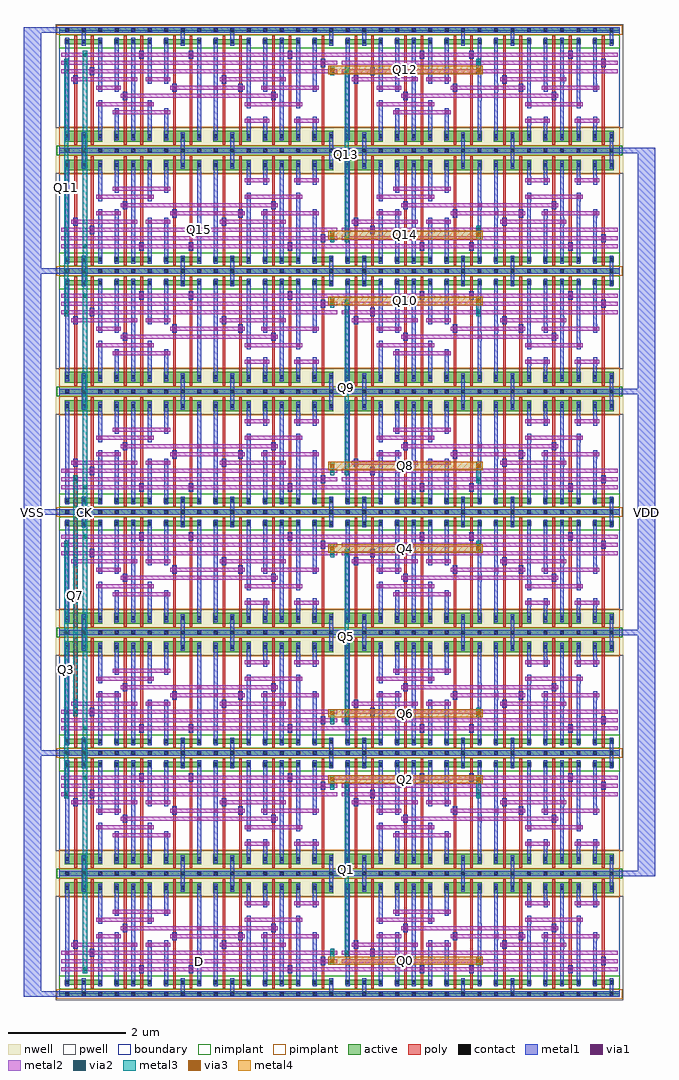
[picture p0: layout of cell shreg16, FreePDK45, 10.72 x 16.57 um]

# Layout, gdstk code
import gdstk
lib = gdstk.Library(unit=1e-6, precision=5e-10)
def R(c, l, rs):  # rectangles x0, y0, x1, y1
    for r in rs: c.add(gdstk.rectangle(r[:2], r[2:], *l))
def A(c, l, x, y, w, h, nx, ny, dx, dy):  # array of equal rectangles
    R(c, l, [(x+i*dx, y+j*dy, x+i*dx+w, y+j*dy+h) for i in range(nx) for j in range(ny)])
active = (1, 0)
pwell = (2, 0)
nwell = (3, 0)
nimplant = (4, 0)
pimplant = (5, 0)
poly = (9, 0)
contact = (10, 0)
metal1 = (11, 0)
via1 = (12, 0)
metal2 = (13, 0)
via2 = (14, 0)
metal3 = (15, 0)
via3 = (16, 0)
metal4 = (17, 0)
boundary = (235, 0)

dff = lib.new_cell('dff')
A(dff, active, 0.1, 0.15, 0.635, 0.09, 5, 1, 0.84, 0)
A(dff, active, 0.1, 1.71, 0.635, 0.18, 5, 1, 0.84, 0)
R(dff, active, [(0,-0.05,4.76,0.045), (4.3,0.15,4.655,0.24), (4.3,1.71,4.655,1.89), (0,1.995,4.76,2.09)])
R(dff, pwell, [(-0.055,-0.105,4.815,1.655)])
R(dff, nwell, [(-0.055,1.655,4.815,2.145)])
R(dff, nimplant, [(0,0.08,4.76,0.31), (-0.035,1.96,4.795,2.125)])
R(dff, pimplant, [(-0.035,-0.085,4.795,0.08), (0,1.64,4.76,1.96)])
R(dff, poly, [(0.255,0.095,0.305,0.295), (0.535,0.095,0.585,0.295), (1.095,0.095,1.145,0.295), (1.375,0.095,1.425,0.295), (1.935,0.095,1.985,0.295), (2.215,0.095,2.265,0.295), (2.775,0.095,2.825,0.295), (3.055,0.095,3.105,0.295), (3.615,0.095,3.665,0.295), (3.895,0.095,3.945,0.295), (4.455,0.095,4.505,0.295), (0.255,0.295,0.305,1.655), (0.535,0.295,0.585,1.655), (1.095,0.295,1.145,1.655), (1.375,0.295,1.425,1.655), (1.935,0.295,1.985,1.655), (2.215,0.295,2.265,1.655), (2.775,0.295,2.825,1.655), (3.055,0.295,3.105,1.655), (3.615,0.295,3.665,1.655), (3.895,0.295,3.945,1.655), (4.455,0.295,4.505,1.655), (1.36,0.375,1.435,0.45), (2.2,0.375,2.275,0.45), (3.88,0.375,3.955,0.45), (4.44,0.515,4.515,0.59), (0.52,0.655,0.595,0.73), (0.24,0.795,0.315,0.87), (2.76,0.795,2.835,0.87), (1.92,0.935,1.995,1.01), (3.04,0.935,3.115,1.01), (1.08,1.075,1.155,1.15), (3.6,1.075,3.675,1.15), (0.255,1.655,0.305,1.945), (0.535,1.655,0.585,1.945), (1.095,1.655,1.145,1.945), (1.375,1.655,1.425,1.945), (1.935,1.655,1.985,1.945), (2.215,1.655,2.265,1.945), (2.775,1.655,2.825,1.945), (3.055,1.655,3.105,1.945), (3.615,1.655,3.665,1.945), (3.895,1.655,3.945,1.945), (4.455,1.655,4.505,1.945)])
A(dff, contact, 0.105, -0.035, 0.065, 0.065, 17, 2, 0.28, 0.195)
A(dff, contact, 0.105, 1.765, 0.065, 0.065, 17, 2, 0.28, 0.245)
R(dff, contact, [(1.365,0.38,1.43,0.445), (2.205,0.38,2.27,0.445), (3.885,0.38,3.95,0.445), (4.445,0.52,4.51,0.585), (0.525,0.66,0.59,0.725), (0.245,0.8,0.31,0.865), (2.765,0.8,2.83,0.865), (1.925,0.94,1.99,1.005), (3.045,0.94,3.11,1.005), (1.085,1.08,1.15,1.145), (3.605,1.08,3.67,1.145)])
A(dff, metal1, 0.105, 0.125, 0.065, 0.135, 17, 2, 0.28, 1.605)
A(dff, metal1, 1.225, 0.26, 0.065, 0.575, 3, 1, 0.28, 0)
A(dff, metal1, 2.625, 0.26, 0.065, 0.715, 3, 1, 0.84, 0)
A(dff, metal1, 1.225, 0.765, 0.07, 0.14, 3, 1, 0.28, 0)
A(dff, metal1, 2.625, 0.905, 0.07, 0.14, 3, 1, 0.42, 0)
R(dff, metal1, [(0,-0.05,4.76,0.045), (0.385,0,0.45,0.125), (2.065,0,2.13,0.125), (2.905,0,2.97,0.125), (4.585,0,4.65,0.125), (0.105,0.26,0.17,0.695), (0.665,0.26,0.73,0.975), (0.945,0.26,1.01,0.975), (2.345,0.26,2.41,1.115), (3.185,0.26,3.25,1.255), (3.745,0.26,3.81,0.835), (4.025,0.26,4.09,1.255), (1.365,0.345,1.435,0.485), (2.205,0.345,2.275,0.485), (3.885,0.345,3.955,0.485), (4.445,0.485,4.515,0.625), (0.105,0.625,0.175,0.765), (0.105,0.625,0.175,0.765), (0.525,0.625,0.595,0.765), (0.105,0.695,0.17,1.73), (0.245,0.765,0.315,0.905), (1.225,0.765,1.295,0.905), (2.765,0.765,2.835,0.905), (3.745,0.765,3.815,0.905), (3.745,0.765,3.815,0.905), (1.225,0.835,1.29,1.73), (3.745,0.835,3.81,1.73), (0.665,0.905,0.735,1.045), (0.945,0.905,1.015,1.045), (1.925,0.905,1.995,1.045), (2.625,0.905,2.695,1.045), (4.305,0.905,4.375,1.045), (2.625,0.975,2.69,1.73), (1.085,1.045,1.155,1.185), (2.345,1.045,2.415,1.185), (2.345,1.045,2.415,1.185), (3.605,1.045,3.675,1.185), (2.345,1.115,2.41,1.73), (0.665,1.185,0.735,1.325), (1.505,1.185,1.575,1.325), (3.185,1.185,3.255,1.325), (4.025,1.185,4.095,1.325), (0.665,1.255,0.73,1.73), (1.505,1.255,1.57,1.73), (0.945,1.325,1.015,1.465), (1.785,1.325,1.855,1.465), (0.945,1.395,1.01,1.73), (1.785,1.395,1.85,1.73), (3.185,1.465,3.255,1.605), (3.465,1.465,3.535,1.605), (4.025,1.465,4.095,1.605), (4.305,1.465,4.375,1.605), (3.185,1.535,3.25,1.73), (3.465,1.535,3.53,1.73), (4.025,1.535,4.09,1.73), (4.305,1.535,4.37,1.73), (0.385,1.865,0.45,2.045), (2.065,1.865,2.13,2.045), (2.905,1.865,2.97,2.045), (4.585,1.865,4.65,2.045), (0,1.995,4.76,2.09)])
A(dff, via1, 1.225, 0.8, 0.07, 0.07, 3, 1, 0.28, 0)
A(dff, via1, 2.625, 0.94, 0.07, 0.07, 3, 1, 0.42, 0)
R(dff, via1, [(1.365,0.38,1.435,0.45), (2.205,0.38,2.275,0.45), (3.885,0.38,3.955,0.45), (4.445,0.52,4.515,0.59), (0.105,0.66,0.175,0.73), (0.105,0.66,0.175,0.73), (0.525,0.66,0.595,0.73), (0.245,0.8,0.315,0.87), (1.225,0.8,1.295,0.87), (2.765,0.8,2.835,0.87), (3.745,0.8,3.815,0.87), (3.745,0.8,3.815,0.87), (0.665,0.94,0.735,1.01), (0.945,0.94,1.015,1.01), (1.925,0.94,1.995,1.01), (2.625,0.94,2.695,1.01), (4.305,0.94,4.375,1.01), (1.085,1.08,1.155,1.15), (2.345,1.08,2.415,1.15), (2.345,1.08,2.415,1.15), (3.605,1.08,3.675,1.15), (0.665,1.22,0.735,1.29), (1.505,1.22,1.575,1.29), (3.185,1.22,3.255,1.29), (4.025,1.22,4.095,1.29), (0.945,1.36,1.015,1.43), (1.785,1.36,1.855,1.43), (3.185,1.5,3.255,1.57), (3.465,1.5,3.535,1.57), (4.025,1.5,4.095,1.57), (4.305,1.5,4.375,1.57)])
A(dff, metal2, 0.035, 0.38, 4.69, 0.07, 1, 3, 0, 0.14)
A(dff, metal2, 1.19, 0.8, 0.14, 0.07, 3, 1, 0.28, 0)
A(dff, metal2, 2.59, 0.94, 0.14, 0.07, 3, 1, 0.42, 0)
R(dff, metal2, [(1.33,0.38,1.47,0.45), (2.17,0.38,2.31,0.45), (3.85,0.38,3.99,0.45), (4.41,0.52,4.55,0.59), (0.07,0.66,0.21,0.73), (0.07,0.66,0.21,0.73), (0.49,0.66,0.63,0.73), (0.21,0.8,0.35,0.87), (0.28,0.8,1.26,0.87), (1.19,0.8,1.33,0.87), (1.54,0.8,1.82,0.87), (2.73,0.8,2.87,0.87), (2.8,0.8,3.78,0.87), (3.71,0.8,3.85,0.87), (3.71,0.8,3.85,0.87), (0.63,0.94,0.77,1.01), (0.7,0.94,0.98,1.01), (0.91,0.94,1.05,1.01), (1.89,0.94,2.03,1.01), (1.96,0.94,3.08,1.01), (2.59,0.94,2.73,1.01), (3.5,0.94,4.34,1.01), (4.27,0.94,4.41,1.01), (1.05,1.08,1.19,1.15), (1.12,1.08,3.64,1.15), (2.31,1.08,2.45,1.15), (2.31,1.08,2.45,1.15), (3.57,1.08,3.71,1.15), (0.63,1.22,0.77,1.29), (0.7,1.22,1.54,1.29), (1.47,1.22,1.61,1.29), (3.15,1.22,3.29,1.29), (3.22,1.22,4.06,1.29), (3.99,1.22,4.13,1.29), (0.91,1.36,1.05,1.43), (0.98,1.36,1.82,1.43), (1.75,1.36,1.89,1.43), (3.15,1.5,3.29,1.57), (3.22,1.5,3.5,1.57), (3.43,1.5,3.57,1.57), (3.99,1.5,4.13,1.57), (4.06,1.5,4.34,1.57), (4.27,1.5,4.41,1.57)])
R(dff, boundary, [(0,0,4.76,2.045)])
dff.add(gdstk.Label('VSS', (2.38,-0.003), layer=11, texttype=1))
dff.add(gdstk.Label('VDD', (2.38,2.042), layer=11, texttype=1))
dff.add(gdstk.Label('Q', (2.38,0.695), layer=13, texttype=1))
dff.add(gdstk.Label('CK', (2.38,0.415), layer=13, texttype=1))
dff.add(gdstk.Label('D', (2.38,0.555), layer=13, texttype=1))

shreg16 = lib.new_cell('shreg16')
A(shreg16, metal1, -0.6, -0.05, 0.6, 0.095, 1, 5, 0, 4.09)
A(shreg16, metal1, 9.52, 1.995, 0.6, 0.095, 1, 4, 0, 4.09)
R(shreg16, metal1, [(-0.6,-0.05,-0.3,16.405), (9.82,1.995,10.12,14.36)])
R(shreg16, metal2, [(0.37,0.38,0.51,0.45), (4.725,0.38,4.795,0.45), (7.05,0.52,7.19,0.59), (4.57,0.66,4.71,0.73), (4.81,0.66,4.95,0.73), (0.05,3.355,0.19,3.425), (7.05,3.355,7.19,3.425), (4.57,3.495,4.71,3.565), (4.81,3.495,4.95,3.565), (0.37,3.635,0.51,3.705), (4.725,3.635,4.795,3.705), (0.37,4.47,0.51,4.54), (4.725,4.47,4.795,4.54), (4.57,4.61,4.71,4.68), (4.81,4.61,4.95,4.68), (0.21,4.75,0.35,4.82), (7.05,4.75,7.19,4.82), (4.57,7.445,4.71,7.515), (4.81,7.445,4.95,7.515), (0.05,7.585,0.19,7.655), (7.05,7.585,7.19,7.655), (0.37,7.725,0.51,7.795), (4.725,7.725,4.795,7.795), (0.37,8.56,0.51,8.63), (4.725,8.56,4.795,8.63), (0.21,8.7,0.35,8.77), (7.05,8.7,7.19,8.77), (4.57,8.84,4.71,8.91), (4.81,8.84,4.95,8.91), (0.05,11.535,0.19,11.605), (7.05,11.535,7.19,11.605), (4.57,11.675,4.71,11.745), (4.81,11.675,4.95,11.745), (0.37,11.815,0.51,11.885), (4.725,11.815,4.795,11.885), (0.37,12.65,0.51,12.72), (4.725,12.65,4.795,12.72), (4.57,12.79,4.71,12.86), (4.81,12.79,4.95,12.86), (7.05,12.93,7.19,13), (4.57,15.625,4.71,15.695), (4.81,15.625,4.95,15.695), (0.05,15.765,0.19,15.835), (7.05,15.765,7.19,15.835), (0.37,15.905,0.51,15.975), (4.725,15.905,4.795,15.975)])
R(shreg16, via2, [(0.405,0.38,0.475,0.45), (7.085,0.52,7.155,0.59), (4.605,0.66,4.675,0.73), (4.845,0.66,4.915,0.73), (0.085,3.355,0.155,3.425), (7.085,3.355,7.155,3.425), (4.605,3.495,4.675,3.565), (4.845,3.495,4.915,3.565), (0.405,3.635,0.475,3.705), (0.405,4.47,0.475,4.54), (4.605,4.61,4.675,4.68), (4.845,4.61,4.915,4.68), (0.245,4.75,0.315,4.82), (7.085,4.75,7.155,4.82), (4.605,7.445,4.675,7.515), (4.845,7.445,4.915,7.515), (0.085,7.585,0.155,7.655), (7.085,7.585,7.155,7.655), (0.405,7.725,0.475,7.795), (0.405,8.56,0.475,8.63), (0.245,8.7,0.315,8.77), (7.085,8.7,7.155,8.77), (4.605,8.84,4.675,8.91), (4.845,8.84,4.915,8.91), (0.085,11.535,0.155,11.605), (7.085,11.535,7.155,11.605), (4.605,11.675,4.675,11.745), (4.845,11.675,4.915,11.745), (0.405,11.815,0.475,11.885), (0.405,12.65,0.475,12.72), (4.605,12.79,4.675,12.86), (4.845,12.79,4.915,12.86), (7.085,12.93,7.155,13), (4.605,15.625,4.675,15.695), (4.845,15.625,4.915,15.695), (0.085,15.765,0.155,15.835), (7.085,15.765,7.155,15.835), (0.405,15.905,0.475,15.975)])
R(shreg16, metal3, [(0.405,0.345,0.475,0.485), (0.405,0.415,0.475,15.94), (7.085,0.485,7.155,0.625), (4.605,0.49,4.675,0.63), (7.085,0.49,7.155,0.63), (7.085,0.555,7.155,0.56), (4.605,0.56,4.675,0.695), (4.605,0.625,4.675,0.765), (4.845,0.625,4.915,0.765), (4.845,0.695,4.915,3.53), (0.085,3.32,0.155,3.46), (7.085,3.32,7.155,3.46), (0.085,3.39,0.155,7.62), (7.085,3.39,7.155,3.64), (4.605,3.46,4.675,3.6), (4.845,3.46,4.915,3.6), (4.605,3.53,4.675,3.64), (4.605,3.57,4.675,3.71), (7.085,3.57,7.155,3.71), (0.405,3.6,0.475,3.74), (0.405,4.435,0.475,4.575), (4.605,4.575,4.675,4.715), (4.845,4.575,4.915,4.715), (4.605,4.645,4.675,4.76), (4.845,4.645,4.915,7.48), (4.605,4.69,4.675,4.83), (7.085,4.69,7.155,4.83), (0.245,4.715,0.315,4.855), (7.085,4.715,7.155,4.855), (7.085,4.76,7.155,4.785), (0.245,4.785,0.315,8.735), (4.605,7.41,4.675,7.55), (4.845,7.41,4.915,7.55), (4.605,7.48,4.675,7.56), (4.605,7.49,4.675,7.63), (7.085,7.49,7.155,7.63), (0.085,7.55,0.155,7.69), (7.085,7.55,7.155,7.69), (7.085,7.56,7.155,7.62), (0.405,7.69,0.475,7.83), (0.405,8.525,0.475,8.665), (0.245,8.665,0.315,8.805), (7.085,8.665,7.155,8.805), (7.085,8.735,7.155,8.96), (4.605,8.805,4.675,8.945), (4.845,8.805,4.915,8.945), (4.605,8.875,4.675,8.96), (4.845,8.875,4.915,11.71), (4.605,8.89,4.675,9.03), (7.085,8.89,7.155,9.03), (0.085,11.5,0.155,11.64), (7.085,11.5,7.155,11.64), (0.085,11.57,0.155,15.8), (7.085,11.57,7.155,11.76), (4.605,11.64,4.675,11.78), (4.845,11.64,4.915,11.78), (4.605,11.69,4.675,11.83), (7.085,11.69,7.155,11.83), (4.605,11.71,4.675,11.76), (0.405,11.78,0.475,11.92), (0.405,12.615,0.475,12.755), (4.605,12.755,4.675,12.895), (4.845,12.755,4.915,12.895), (4.605,12.81,4.675,12.95), (7.085,12.81,7.155,12.95), (4.605,12.825,4.675,12.88), (4.845,12.825,4.915,15.66), (7.085,12.88,7.155,12.965), (7.085,12.895,7.155,13.035), (4.605,15.59,4.675,15.73), (4.845,15.59,4.915,15.73), (4.605,15.61,4.675,15.75), (7.085,15.61,7.155,15.75), (4.605,15.66,4.675,15.68), (7.085,15.68,7.155,15.8), (0.085,15.73,0.155,15.87), (7.085,15.73,7.155,15.87), (0.405,15.87,0.475,16.01)])
R(shreg16, via3, [(4.605,0.525,4.675,0.595), (7.085,0.525,7.155,0.595), (4.605,3.605,4.675,3.675), (7.085,3.605,7.155,3.675), (4.605,4.725,4.675,4.795), (7.085,4.725,7.155,4.795), (4.605,7.525,4.675,7.595), (7.085,7.525,7.155,7.595), (4.605,8.925,4.675,8.995), (7.085,8.925,7.155,8.995), (4.605,11.725,4.675,11.795), (7.085,11.725,7.155,11.795), (4.605,12.845,4.675,12.915), (7.085,12.845,7.155,12.915), (4.605,15.645,4.675,15.715), (7.085,15.645,7.155,15.715)])
R(shreg16, metal4, [(4.57,0.49,4.71,0.63), (4.64,0.49,7.12,0.63), (7.05,0.49,7.19,0.63), (4.57,3.57,4.71,3.71), (4.64,3.57,7.12,3.71), (7.05,3.57,7.19,3.71), (4.57,4.69,4.71,4.83), (4.64,4.69,7.12,4.83), (7.05,4.69,7.19,4.83), (4.57,7.49,4.71,7.63), (4.64,7.49,7.12,7.63), (7.05,7.49,7.19,7.63), (4.57,8.89,4.71,9.03), (4.64,8.89,7.12,9.03), (7.05,8.89,7.19,9.03), (4.57,11.69,4.71,11.83), (4.64,11.69,7.12,11.83), (7.05,11.69,7.19,11.83), (4.57,12.81,4.71,12.95), (4.64,12.81,7.12,12.95), (7.05,12.81,7.19,12.95), (4.57,15.61,4.71,15.75), (4.64,15.61,7.12,15.75), (7.05,15.61,7.19,15.75)])
shreg16.add(gdstk.Reference(dff, (0,0)))
shreg16.add(gdstk.Reference(dff, (4.76,0)))
shreg16.add(gdstk.Reference(dff, (0,4.085), x_reflection=True))
shreg16.add(gdstk.Reference(dff, (4.76,4.085), x_reflection=True))
shreg16.add(gdstk.Reference(dff, (0,4.09)))
shreg16.add(gdstk.Reference(dff, (4.76,4.09)))
shreg16.add(gdstk.Reference(dff, (0,8.175), x_reflection=True))
shreg16.add(gdstk.Reference(dff, (4.76,8.175), x_reflection=True))
shreg16.add(gdstk.Reference(dff, (0,8.18)))
shreg16.add(gdstk.Reference(dff, (4.76,8.18)))
shreg16.add(gdstk.Reference(dff, (0,12.265), x_reflection=True))
shreg16.add(gdstk.Reference(dff, (4.76,12.265), x_reflection=True))
shreg16.add(gdstk.Reference(dff, (0,12.27)))
shreg16.add(gdstk.Reference(dff, (4.76,12.27)))
shreg16.add(gdstk.Reference(dff, (0,16.355), x_reflection=True))
shreg16.add(gdstk.Reference(dff, (4.76,16.355), x_reflection=True))
shreg16.add(gdstk.Label('VSS', (-0.45,8.177), layer=11, texttype=1))
shreg16.add(gdstk.Label('VDD', (9.97,8.177), layer=11, texttype=1))
shreg16.add(gdstk.Label('D', (2.38,0.555), layer=13, texttype=1))
shreg16.add(gdstk.Label('Q15', (2.38,12.965), layer=13, texttype=1))
shreg16.add(gdstk.Label('Q11', (0.12,13.685), layer=15, texttype=1))
shreg16.add(gdstk.Label('Q3', (0.12,5.505), layer=15, texttype=1))
shreg16.add(gdstk.Label('Q7', (0.28,6.76), layer=15, texttype=1))
shreg16.add(gdstk.Label('Q1', (4.88,2.112), layer=15, texttype=1))
shreg16.add(gdstk.Label('Q13', (4.88,14.242), layer=15, texttype=1))
shreg16.add(gdstk.Label('Q5', (4.88,6.062), layer=15, texttype=1))
shreg16.add(gdstk.Label('Q9', (4.88,10.292), layer=15, texttype=1))
shreg16.add(gdstk.Label('CK', (0.44,8.177), layer=15, texttype=1))
shreg16.add(gdstk.Label('Q0', (5.88,0.56), layer=17, texttype=1))
shreg16.add(gdstk.Label('Q10', (5.88,11.76), layer=17, texttype=1))
shreg16.add(gdstk.Label('Q12', (5.88,15.68), layer=17, texttype=1))
shreg16.add(gdstk.Label('Q14', (5.88,12.88), layer=17, texttype=1))
shreg16.add(gdstk.Label('Q2', (5.88,3.64), layer=17, texttype=1))
shreg16.add(gdstk.Label('Q4', (5.88,7.56), layer=17, texttype=1))
shreg16.add(gdstk.Label('Q6', (5.88,4.76), layer=17, texttype=1))
shreg16.add(gdstk.Label('Q8', (5.88,8.96), layer=17, texttype=1))

lib.write_gds('shreg16.gds')
